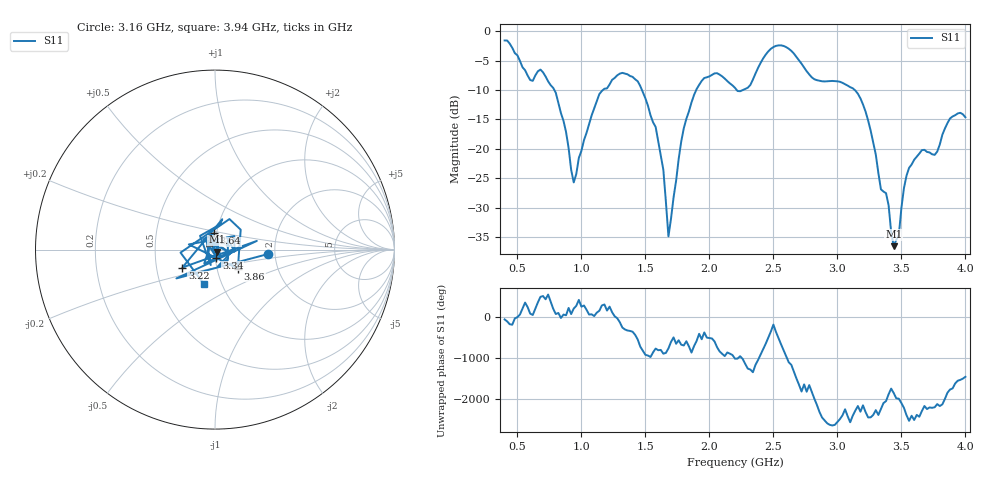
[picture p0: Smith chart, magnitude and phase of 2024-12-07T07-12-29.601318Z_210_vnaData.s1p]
!Created with skrf (http://scikit-rf.org).
# Hz S RI R 50.0
!freq ReS11 ImS11
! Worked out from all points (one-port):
!   181 points, 400 MHz to 4 GHz, reference 50 ohm
!   lowest |S11| = -36.5 dB at 3.44 GHz (marker M1), VSWR 1.03, Z = 51 - j1.13 ohm
!   |S11| at or under -10 dB: 788.2 MHz to 1.169 GHz (380.4 MHz wide, 38.9 % of centre); 1.473 GHz to 1.897 GHz (424.4 MHz wide, 25.2 % of centre); 3.135 GHz to end of sweep (the widest 3 of 4)
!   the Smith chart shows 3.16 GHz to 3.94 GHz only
!   S11 on the Smith chart (normalised r, x): 3.16 GHz: 1.82, -0.10; 3.22 GHz: 0.68, -0.14; 3.34 GHz: 1.01, -0.09; 3.64 GHz: 0.97, +0.18; 3.86 GHz: 1.26, -0.27; 3.94 GHz: 0.82, -0.32
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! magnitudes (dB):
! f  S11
! 400 MHz  -1.6
! 600 MHz  -8.3
! 700 MHz  -7.0
! 860 MHz  -15.2
! 940 MHz  -25.7
! 1.14 GHz  -10.7
! 1.3 GHz  -7.2
! 1.44 GHz  -8.5
! 1.58 GHz  -16.3
! 1.64 GHz  -23.6
! 1.68 GHz  -34.9
! 1.76 GHz  -21.7
! 1.94 GHz  -8.5
! 2.2 GHz  -9.6
! 2.5 GHz  -2.7
! 2.66 GHz  -3.8
! 3.1 GHz  -9.5
! 3.16 GHz  -10.6
! 3.22 GHz  -13.7
! 3.34 GHz  -26.9
! 3.38 GHz  -27.5
! 3.44 GHz  -36.5
! 3.56 GHz  -23.2
! 3.64 GHz  -20.8
! 3.76 GHz  -21.0
! 3.86 GHz  -15.6
! 3.94 GHz  -14.0
! 4 GHz  -14.6
